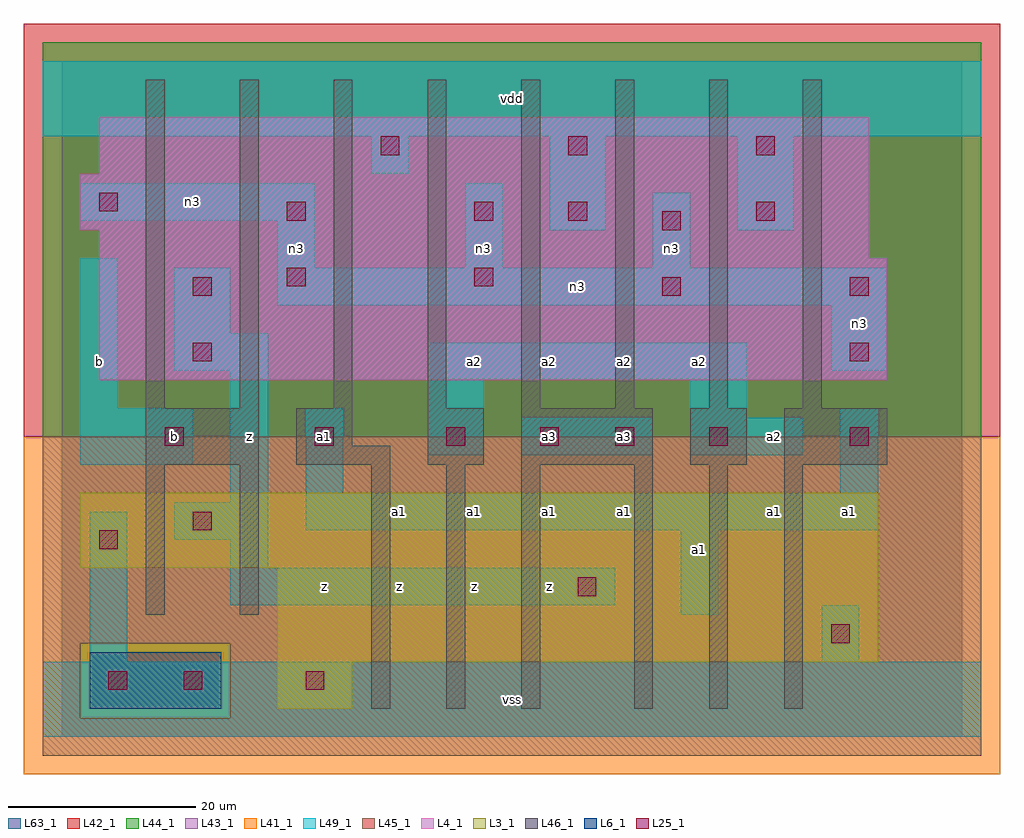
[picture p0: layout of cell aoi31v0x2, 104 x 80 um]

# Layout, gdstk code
import gdstk
lib = gdstk.Library(unit=1e-6, precision=1e-09)
def R(c, l, rs):  # rectangles x0, y0, x1, y1
    for r in rs: c.add(gdstk.rectangle(r[:2], r[2:], *l))
def A(c, l, x, y, w, h, nx, ny, dx, dy):  # array of equal rectangles
    R(c, l, [(x+i*dx, y+j*dy, x+i*dx+w, y+j*dy+h) for i in range(nx) for j in range(ny)])
L3_1 = (3, 1)
L4_1 = (4, 1)
L6_1 = (6, 1)
L25_1 = (25, 1)
L41_1 = (41, 1)
L42_1 = (42, 1)
L43_1 = (43, 1)
L44_1 = (44, 1)
L45_1 = (45, 1)
L46_1 = (46, 1)
L49_1 = (49, 1)
L63_1 = (63, 1)

aoi31v0x2 = lib.new_cell('aoi31v0x2')
R(aoi31v0x2, L3_1, [(23,3,31,8), (23,8,87,18), (2,18,87,26)])
R(aoi31v0x2, L4_1, [(4,38,88,51), (4,51,86,54), (2,54,86,60), (4,60,86,66)])
R(aoi31v0x2, L6_1, [(3,3,17,9), (3,3,17,9)])
A(aoi31v0x2, L25_1, 34, 62, 2, 2, 3, 1, 20, 0)
R(aoi31v0x2, L25_1, [(5,5,7,7), (13,5,15,7), (26,5,28,7), (82,10,84,12), (55,15,57,17), (4,20,6,22), (14,22,16,24), (11,31,13,33), (27,31,29,33), (41,31,43,33), (51,31,53,33), (59,31,61,33), (69,31,71,33), (84,31,86,33), (14,40,16,42), (84,40,86,42), (14,47,16,49), (64,47,66,49), (84,47,86,49), (24,48,26,50), (44,48,46,50), (64,54,66,56), (24,55,26,57), (44,55,46,57), (54,55,56,57), (74,55,76,57), (4,56,6,58)])
R(aoi31v0x2, L41_1, [(-4,-4,100,32)])
R(aoi31v0x2, L42_1, [(-4,32,100,76)])
R(aoi31v0x2, L43_1, [(3,3,17,9), (23,3,31,8), (23,8,87,18), (2,18,87,26), (4,38,88,51), (4,51,86,54), (2,54,86,60), (4,60,86,66)])
R(aoi31v0x2, L44_1, [(2,2,18,10), (-2,32,98,74)])
R(aoi31v0x2, L45_1, [(-2,-2,98,2), (-2,2,2,10), (18,2,98,10), (-2,10,98,32)])
A(aoi31v0x2, L46_1, 33, 3, 2, 26, 3, 1, 8, 0)
A(aoi31v0x2, L46_1, 61, 3, 2, 26, 3, 1, 8, 0)
A(aoi31v0x2, L46_1, 9, 35, 2, 35, 8, 1, 10, 0)
R(aoi31v0x2, L46_1, [(9,13,11,29), (19,13,21,29), (9,29,21,35), (25,29,35,31), (39,29,45,35), (49,29,63,35), (67,29,73,35), (77,29,88,35), (25,31,31,35)])
R(aoi31v0x2, L49_1, [(-2,0,98,8), (3,8,7,24), (81,8,85,14), (66,13,70,22), (18,14,59,18), (18,18,22,21), (12,21,22,25), (26,22,87,26), (18,25,22,39), (26,26,30,35), (83,26,87,35), (2,29,14,35), (39,30,45,38), (49,30,63,34), (67,30,79,34), (67,34,73,38), (2,35,6,51), (39,38,73,42), (12,39,22,43), (82,39,88,46), (12,43,18,50), (23,46,88,50), (23,50,27,55), (43,50,47,59), (63,50,67,58), (52,54,58,64), (72,54,78,64), (2,55,27,59), (33,60,37,64), (-2,64,98,72)])
R(aoi31v0x2, L63_1, [(0,0,96,72)])
aoi31v0x2.add(gdstk.Label('b', (12,32), layer=49, texttype=1))
aoi31v0x2.add(gdstk.Label('b', (4,40), layer=49, texttype=1))
aoi31v0x2.add(gdstk.Label('z', (28,16), layer=49, texttype=1))
aoi31v0x2.add(gdstk.Label('a1', (28,32), layer=49, texttype=1))
aoi31v0x2.add(gdstk.Label('z', (20,32), layer=49, texttype=1))
aoi31v0x2.add(gdstk.Label('n3', (25,52), layer=49, texttype=1))
aoi31v0x2.add(gdstk.Label('n3', (14,57), layer=49, texttype=1))
aoi31v0x2.add(gdstk.Label('vss', (48,4), layer=49, texttype=1))
aoi31v0x2.add(gdstk.Label('z', (44,16), layer=49, texttype=1))
aoi31v0x2.add(gdstk.Label('z', (52,16), layer=49, texttype=1))
aoi31v0x2.add(gdstk.Label('z', (36,16), layer=49, texttype=1))
aoi31v0x2.add(gdstk.Label('a1', (36,24), layer=49, texttype=1))
aoi31v0x2.add(gdstk.Label('a1', (44,24), layer=49, texttype=1))
aoi31v0x2.add(gdstk.Label('a1', (52,24), layer=49, texttype=1))
aoi31v0x2.add(gdstk.Label('a3', (52,32), layer=49, texttype=1))
aoi31v0x2.add(gdstk.Label('a2', (44,40), layer=49, texttype=1))
aoi31v0x2.add(gdstk.Label('a2', (52,40), layer=49, texttype=1))
aoi31v0x2.add(gdstk.Label('n3', (45,52), layer=49, texttype=1))
aoi31v0x2.add(gdstk.Label('vdd', (48,68), layer=49, texttype=1))
aoi31v0x2.add(gdstk.Label('a1', (60,24), layer=49, texttype=1))
aoi31v0x2.add(gdstk.Label('a1', (76,24), layer=49, texttype=1))
aoi31v0x2.add(gdstk.Label('a1', (68,20), layer=49, texttype=1))
aoi31v0x2.add(gdstk.Label('a2', (76,32), layer=49, texttype=1))
aoi31v0x2.add(gdstk.Label('a3', (60,32), layer=49, texttype=1))
aoi31v0x2.add(gdstk.Label('a2', (60,40), layer=49, texttype=1))
aoi31v0x2.add(gdstk.Label('a2', (68,40), layer=49, texttype=1))
aoi31v0x2.add(gdstk.Label('n3', (65,52), layer=49, texttype=1))
aoi31v0x2.add(gdstk.Label('a1', (84,24), layer=49, texttype=1))
aoi31v0x2.add(gdstk.Label('n3', (85,44), layer=49, texttype=1))
aoi31v0x2.add(gdstk.Label('n3', (55,48), layer=49, texttype=1))

lib.write_gds('aoi31v0x2.gds')
